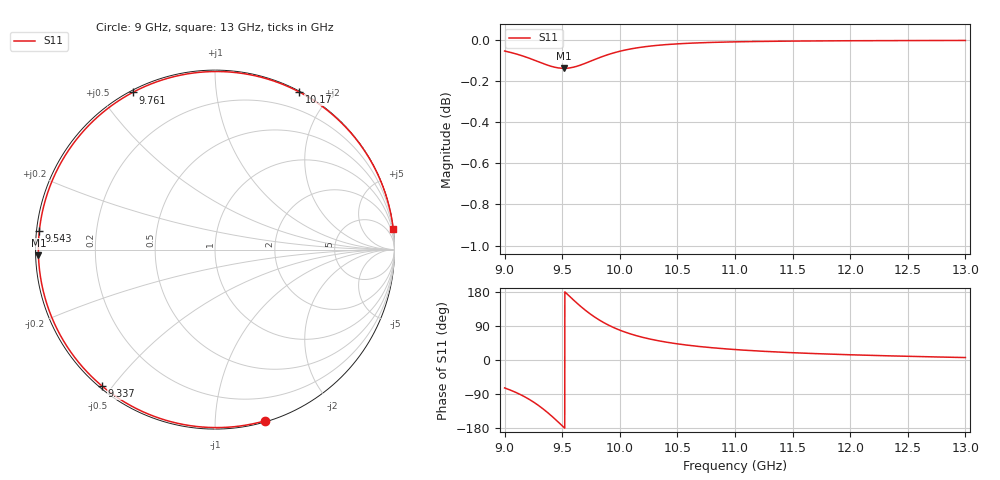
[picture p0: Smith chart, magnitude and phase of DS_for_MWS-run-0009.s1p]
! TOUCHSTONE file generated by CST DESIGN STUDIO
! Date and time: Tue Feb  4 17:19:20 2025
! Project name: C:\Work\MatlabApps\UnitCellOptimizationMatlab\CST\unitcell.cst
! Tree item: Tasks\Sweep1\SPara1\S-Parameters
! Header version: 2024
! Port assignment regex: !\s*Touchstone port\s*([0-9]+)\s*=\s*(CST MWS port|CST DES external port|CST DES block port)\s*(.+)\s* \(\"(.*)\"\)(\s*mode\s*([0-9]+))?.*
! Touchstone port assignment:
! Touchstone port 1 = CST DES external port 1 ("")
# GHz S MA R 50
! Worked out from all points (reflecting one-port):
!   4001 points, 9 GHz to 13 GHz, reference 50 ohm
!   lowest |S11| = -0.1 dB at 9.516 GHz (marker M1), VSWR 125.73, Z = 0.398 - j0.78 ohm
!   phase of S11 starts at -74 deg and turns -280 deg over the sweep
!   S11 on the Smith chart (normalised r, x): 9 GHz: 0.01, -1.33; 9.337 GHz: 0.01, -0.47; 9.543 GHz: 0.01, +0.05; 9.761 GHz: 0.01, +0.60; 10.17 GHz: 0.01, +1.67; 13 GHz: 0, +18
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9  0.9938 -73.7
9.091  0.9923 -84.7
9.196  0.9902 -100.8
9.27  0.9884 -114.9
9.337  0.9868 -129.8
9.381  0.9858 -140.7
9.427  0.9849 -152.9
9.464  0.9845 -163.3
9.5  0.9842 -173.6
9.516  0.9842 -178.2
9.543  0.9843 174.0
9.597  0.9848 158.6
9.658  0.986 142.1
9.709  0.9872 129.4
9.761  0.9886 117.7
9.811  0.9898 107.6
9.866  0.9911 97.8
10  0.9937 78.8
10.082  0.9948 69.9
10.171  0.9958 61.9
10.321  0.9969 51.6
10.5  0.9978 42.6
10.722  0.9984 34.6
11  0.9989 27.6
11.5  0.9993 19.3
12  0.9995 13.8
12.5  0.9996 9.7
13  0.9997 6.5
